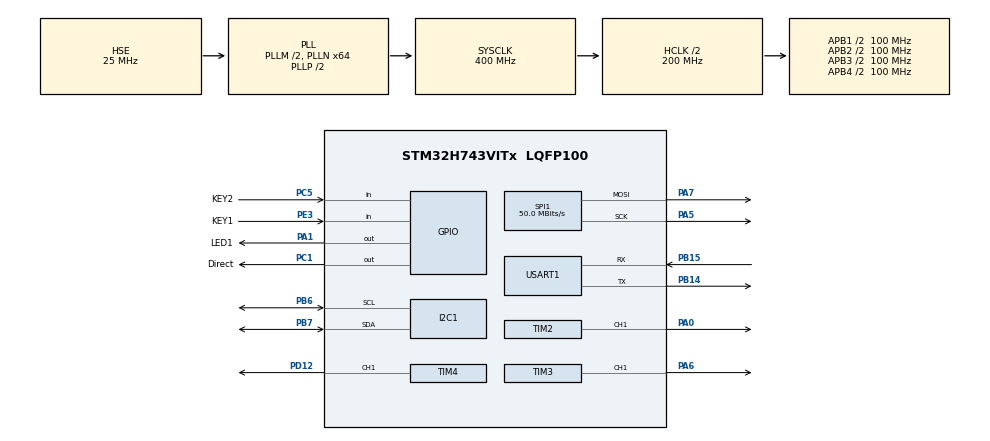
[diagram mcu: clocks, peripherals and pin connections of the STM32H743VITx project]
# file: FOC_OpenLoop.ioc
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Dma.Request0=USART1_RX
Dma.Request1=SPI1_TX
Dma.SPI1_TX.1.Direction=DMA_MEMORY_TO_PERIPH
Dma.SPI1_TX.1.EventEnable=DISABLE
Dma.SPI1_TX.1.FIFOMode=DMA_FIFOMODE_DISABLE
Dma.SPI1_TX.1.Instance=DMA1_Stream1
Dma.SPI1_TX.1.MemDataAlignment=DMA_MDATAALIGN_BYTE
Dma.SPI1_TX.1.MemInc=DMA_MINC_ENABLE
Dma.SPI1_TX.1.Mode=DMA_NORMAL
Dma.SPI1_TX.1.PeriphDataAlignment=DMA_PDATAALIGN_BYTE
Dma.SPI1_TX.1.PeriphInc=DMA_PINC_DISABLE
Dma.SPI1_TX.1.Polarity=HAL_DMAMUX_REQ_GEN_RISING
Dma.SPI1_TX.1.Priority=DMA_PRIORITY_LOW
Dma.SPI1_TX.1.RequestNumber=1
Dma.SPI1_TX.1.SignalID=NONE
Dma.SPI1_TX.1.SyncEnable=DISABLE
Dma.SPI1_TX.1.SyncPolarity=HAL_DMAMUX_SYNC_NO_EVENT
Dma.SPI1_TX.1.SyncRequestNumber=1
Dma.SPI1_TX.1.SyncSignalID=NONE
Dma.USART1_RX.0.Direction=DMA_PERIPH_TO_MEMORY
Dma.USART1_RX.0.EventEnable=DISABLE
Dma.USART1_RX.0.FIFOMode=DMA_FIFOMODE_DISABLE
Dma.USART1_RX.0.Instance=DMA1_Stream0
Dma.USART1_RX.0.MemDataAlignment=DMA_MDATAALIGN_BYTE
Dma.USART1_RX.0.MemInc=DMA_MINC_ENABLE
Dma.USART1_RX.0.Mode=DMA_NORMAL
Dma.USART1_RX.0.PeriphDataAlignment=DMA_PDATAALIGN_BYTE
Dma.USART1_RX.0.PeriphInc=DMA_PINC_DISABLE
Dma.USART1_RX.0.Polarity=HAL_DMAMUX_REQ_GEN_RISING
Dma.USART1_RX.0.Priority=DMA_PRIORITY_LOW
Dma.USART1_RX.0.RequestNumber=1
Dma.USART1_RX.0.SignalID=NONE
Dma.USART1_RX.0.SyncEnable=DISABLE
Dma.USART1_RX.0.SyncPolarity=HAL_DMAMUX_SYNC_NO_EVENT
Dma.USART1_RX.0.SyncRequestNumber=1
Dma.USART1_RX.0.SyncSignalID=NONE
FREERTOS.Tasks01=defaultTask,0,128,StartDefaultTask,Default,NULL,Dynamic,NULL,NULL
FREERTOS.configENABLE_FPU=1
I2C1.Timing=0x10C0ECFF
Mcu.Family=STM32H7
Mcu.Name=STM32H743VITx
Mcu.Package=LQFP100
NVIC.DMA1_Stream0_IRQn=true\:5\:0\:false\:false\:true\:true\:false\:true\:true
NVIC.DMA1_Stream1_IRQn=true\:5\:0\:false\:false\:true\:true\:false\:true\:true
NVIC.PriorityGroup=NVIC_PRIORITYGROUP_4
NVIC.SPI1_IRQn=true\:5\:0\:false\:false\:true\:true\:false\:true\:true
NVIC.TIM4_IRQn=true\:5\:0\:false\:false\:true\:true\:true\:true\:true
PA0.Signal=S_TIM2_CH1_ETR
PA1.GPIO_Label=LED1
PA1.Signal=GPIO_Output
PA13\ (JTMS/SWDIO).Mode=Serial_Wire
PA13\ (JTMS/SWDIO).Signal=DEBUG_JTMS-SWDIO
PA14\ (JTCK/SWCLK).Mode=Serial_Wire
PA14\ (JTCK/SWCLK).Signal=DEBUG_JTCK-SWCLK
PA5.Mode=TX_Only_Simplex_Unidirect_Master
PA5.Signal=SPI1_SCK
PA6.Signal=S_TIM3_CH1
PA7.Mode=TX_Only_Simplex_Unidirect_Master
PA7.Signal=SPI1_MOSI
PB14.Mode=Asynchronous
PB14.Signal=USART1_TX
PB15.Mode=Asynchronous
PB15.Signal=USART1_RX
PB6.Mode=I2C
PB6.Signal=I2C1_SCL
PB7.Mode=I2C
PB7.Signal=I2C1_SDA
PC1.GPIO_Label=Direct
PC1.Signal=GPIO_Output
PC5.GPIO_Label=KEY2
PC5.GPIO_PuPd=GPIO_PULLUP
PC5.Signal=GPIO_Input
PD12.Signal=S_TIM4_CH1
PE3.GPIO_Label=KEY1
PE3.GPIO_PuPd=GPIO_PULLUP
PE3.Signal=GPIO_Input
PH0-OSC_IN\ (PH0).Mode=HSE-External-Oscillator
PH0-OSC_IN\ (PH0).Signal=RCC_OSC_IN
PH1-OSC_OUT\ (PH1).Mode=HSE-External-Oscillator
PH1-OSC_OUT\ (PH1).Signal=RCC_OSC_OUT
ProjectManager.HeapSize=0x200
ProjectManager.StackSize=0x400
ProjectManager.TargetToolchain=STM32CubeIDE
RCC.ADCFreq_Value=50390625
RCC.APB1Freq_Value=100000000
RCC.APB2Freq_Value=100000000
RCC.APB3Freq_Value=100000000
RCC.APB4Freq_Value=100000000
RCC.CortexFreq_Value=400000000
RCC.D1PPRE=RCC_APB3_DIV2
RCC.D2PPRE1=RCC_APB1_DIV2
RCC.D2PPRE2=RCC_APB2_DIV2
RCC.D3PPRE=RCC_APB4_DIV2
RCC.DIVM1=2
RCC.DIVN1=64
RCC.DIVQ1=8
RCC.HCLKFreq_Value=200000000
RCC.HPRE=RCC_HCLK_DIV2
RCC.PLLSourceVirtual=RCC_PLLSOURCE_HSE
RCC.ProductRev=revV
RCC.SYSCLKFreq_VALUE=400000000
RCC.SYSCLKSource=RCC_SYSCLKSOURCE_PLLCLK
RCC.USBFreq_Value=100000000
SH.S_TIM2_CH1_ETR.0=TIM2_CH1,PWM Generation1 CH1
SH.S_TIM3_CH1.0=TIM3_CH1,PWM Generation1 CH1
SH.S_TIM4_CH1.0=TIM4_CH1,PWM Generation1 CH1
SPI1.BaudRatePrescaler=SPI_BAUDRATEPRESCALER_2
SPI1.CLKPhase=SPI_PHASE_1EDGE
SPI1.CLKPolarity=SPI_POLARITY_LOW
SPI1.CalculateBaudRate=50.0 MBits/s
SPI1.DataSize=SPI_DATASIZE_8BIT
SPI1.Direction=SPI_DIRECTION_2LINES_TXONLY
SPI1.Mode=SPI_MODE_MASTER
SPI1.VirtualType=VM_MASTER
TIM2.Channel-PWM\ Generation1\ CH1=TIM_CHANNEL_1
TIM2.Period=1000
TIM2.Prescaler=3
TIM3.Channel-PWM\ Generation1\ CH1=TIM_CHANNEL_1
TIM3.Period=1000
TIM3.Prescaler=3
TIM4.Channel-PWM\ Generation1\ CH1=TIM_CHANNEL_1
TIM4.Period=1000
TIM4.Prescaler=3
USART1.VirtualMode-Asynchronous=VM_ASYNC
VP_FREERTOS_VS_CMSIS_V1.Mode=CMSIS_V1
board=custom

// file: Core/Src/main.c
/* USER CODE BEGIN Header */
/**
  ******************************************************************************
  * @file           : main.c
  * @brief          : Main program body
  ******************************************************************************
  * @attention
  *
  * Copyright (c) 2023 STMicroelectronics.
  * All rights reserved.
  *
  * This software is licensed under terms that can be found in the LICENSE file
  * in the root directory of this software component.
  * If no LICENSE file comes with this software, it is provided AS-IS.
  *
  ******************************************************************************
  */
/* USER CODE END Header */
#include "main.h"
#include "cmsis_os.h"

I2C_HandleTypeDef hi2c1;

SPI_HandleTypeDef hspi1;
DMA_HandleTypeDef hdma_spi1_tx;

TIM_HandleTypeDef htim2;
TIM_HandleTypeDef htim3;
TIM_HandleTypeDef htim4;

UART_HandleTypeDef huart1;
DMA_HandleTypeDef hdma_usart1_rx;

osThreadId defaultTaskHandle;

void SystemClock_Config(void);
static void MX_GPIO_Init(void);
static void MX_DMA_Init(void);
static void MX_USART1_UART_Init(void);
static void MX_SPI1_Init(void);
static void MX_TIM4_Init(void);
static void MX_TIM2_Init(void);
static void MX_TIM3_Init(void);
static void MX_I2C1_Init(void);
void StartDefaultTask(void const * argument);

/* USER CODE BEGIN PFP */

void MotorTask(void const * argument);
osThreadId MotorControlTaskHandle;
osThreadDef(MotorTask, MotorTask, osPriorityHigh, 0, 512);

/* USER CODE END PFP */

int main(void)
{

  /* MCU Configuration--------------------------------------------------------*/

  /* Reset of all peripherals, Initializes the Flash interface and the Systick. */
  HAL_Init();

  /* Configure the system clock */
  SystemClock_Config();

  /* Initialize all configured peripherals */
  MX_GPIO_Init();
  MX_DMA_Init();
  MX_USART1_UART_Init();
  MX_SPI1_Init();
  MX_TIM4_Init();
  MX_TIM2_Init();
  MX_TIM3_Init();
  MX_I2C1_Init();

  /* Create the thread(s) */
  /* definition and creation of defaultTask */
  osThreadDef(defaultTask, StartDefaultTask, osPriorityNormal, 0, 128);
  defaultTaskHandle = osThreadCreate(osThread(defaultTask), NULL);

  /* Start scheduler */
  osKernelStart();
  /* We should never get here as control is now taken by the scheduler */
  /* Infinite loop */
  while (1)
  {

  }
}

void SystemClock_Config(void)
{
  RCC_OscInitTypeDef RCC_OscInitStruct = {0};
  RCC_ClkInitTypeDef RCC_ClkInitStruct = {0};

  /** Supply configuration update enable
  */
  HAL_PWREx_ConfigSupply(PWR_LDO_SUPPLY);

  /** Configure the main internal regulator output voltage
  */
  __HAL_PWR_VOLTAGESCALING_CONFIG(PWR_REGULATOR_VOLTAGE_SCALE1);

  while(!__HAL_PWR_GET_FLAG(PWR_FLAG_VOSRDY)) {}

  /** Initializes the RCC Oscillators according to the specified parameters
  * in the RCC_OscInitTypeDef structure.
  */
  RCC_OscInitStruct.OscillatorType = RCC_OSCILLATORTYPE_HSE;
  RCC_OscInitStruct.HSEState = RCC_HSE_ON;
  RCC_OscInitStruct.PLL.PLLState = RCC_PLL_ON;
  RCC_OscInitStruct.PLL.PLLSource = RCC_PLLSOURCE_HSE;
  RCC_OscInitStruct.PLL.PLLM = 2;
  RCC_OscInitStruct.PLL.PLLN = 64;
  RCC_OscInitStruct.PLL.PLLP = 2;
  RCC_OscInitStruct.PLL.PLLQ = 8;
  RCC_OscInitStruct.PLL.PLLR = 2;
  RCC_OscInitStruct.PLL.PLLRGE = RCC_PLL1VCIRANGE_3;
  RCC_OscInitStruct.PLL.PLLVCOSEL = RCC_PLL1VCOWIDE;
  RCC_OscInitStruct.PLL.PLLFRACN = 0;
  if (HAL_RCC_OscConfig(&RCC_OscInitStruct) != HAL_OK)
  {
    Error_Handler();
  }

  /** Initializes the CPU, AHB and APB buses clocks
  */
  RCC_ClkInitStruct.ClockType = RCC_CLOCKTYPE_HCLK|RCC_CLOCKTYPE_SYSCLK
                              |RCC_CLOCKTYPE_PCLK1|RCC_CLOCKTYPE_PCLK2
                              |RCC_CLOCKTYPE_D3PCLK1|RCC_CLOCKTYPE_D1PCLK1;
  RCC_ClkInitStruct.SYSCLKSource = RCC_SYSCLKSOURCE_PLLCLK;
  RCC_ClkInitStruct.SYSCLKDivider = RCC_SYSCLK_DIV1;
  RCC_ClkInitStruct.AHBCLKDivider = RCC_HCLK_DIV2;
  RCC_ClkInitStruct.APB3CLKDivider = RCC_APB3_DIV2;
  RCC_ClkInitStruct.APB1CLKDivider = RCC_APB1_DIV2;
  RCC_ClkInitStruct.APB2CLKDivider = RCC_APB2_DIV2;
  RCC_ClkInitStruct.APB4CLKDivider = RCC_APB4_DIV2;

  if (HAL_RCC_ClockConfig(&RCC_ClkInitStruct, FLASH_LATENCY_2) != HAL_OK)
  {
    Error_Handler();
  }
}

static void MX_I2C1_Init(void)
{

  hi2c1.Instance = I2C1;
  hi2c1.Init.Timing = 0x10C0ECFF;
  hi2c1.Init.OwnAddress1 = 0;
  hi2c1.Init.AddressingMode = I2C_ADDRESSINGMODE_7BIT;
  hi2c1.Init.DualAddressMode = I2C_DUALADDRESS_DISABLE;
  hi2c1.Init.OwnAddress2 = 0;
  hi2c1.Init.OwnAddress2Masks = I2C_OA2_NOMASK;
  hi2c1.Init.GeneralCallMode = I2C_GENERALCALL_DISABLE;
  hi2c1.Init.NoStretchMode = I2C_NOSTRETCH_DISABLE;
  if (HAL_I2C_Init(&hi2c1) != HAL_OK)
  {
    Error_Handler();
  }

  /** Configure Analogue filter
  */
  if (HAL_I2CEx_ConfigAnalogFilter(&hi2c1, I2C_ANALOGFILTER_ENABLE) != HAL_OK)
  {
    Error_Handler();
  }

  /** Configure Digital filter
  */
  if (HAL_I2CEx_ConfigDigitalFilter(&hi2c1, 0) != HAL_OK)
  {
    Error_Handler();
  }

}

static void MX_SPI1_Init(void)
{

  /* SPI1 parameter configuration*/
  hspi1.Instance = SPI1;
  hspi1.Init.Mode = SPI_MODE_MASTER;
  hspi1.Init.Direction = SPI_DIRECTION_2LINES_TXONLY;
  hspi1.Init.DataSize = SPI_DATASIZE_8BIT;
  hspi1.Init.CLKPolarity = SPI_POLARITY_LOW;
  hspi1.Init.CLKPhase = SPI_PHASE_1EDGE;
  hspi1.Init.NSS = SPI_NSS_SOFT;
  hspi1.Init.BaudRatePrescaler = SPI_BAUDRATEPRESCALER_2;
  hspi1.Init.FirstBit = SPI_FIRSTBIT_MSB;
  hspi1.Init.TIMode = SPI_TIMODE_DISABLE;
  hspi1.Init.CRCCalculation = SPI_CRCCALCULATION_DISABLE;
  hspi1.Init.CRCPolynomial = 0x0;
  hspi1.Init.NSSPMode = SPI_NSS_PULSE_ENABLE;
  hspi1.Init.NSSPolarity = SPI_NSS_POLARITY_LOW;
  hspi1.Init.FifoThreshold = SPI_FIFO_THRESHOLD_01DATA;
  hspi1.Init.TxCRCInitializationPattern = SPI_CRC_INITIALIZATION_ALL_ZERO_PATTERN;
  hspi1.Init.RxCRCInitializationPattern = SPI_CRC_INITIALIZATION_ALL_ZERO_PATTERN;
  hspi1.Init.MasterSSIdleness = SPI_MASTER_SS_IDLENESS_00CYCLE;
  hspi1.Init.MasterInterDataIdleness = SPI_MASTER_INTERDATA_IDLENESS_00CYCLE;
  hspi1.Init.MasterReceiverAutoSusp = SPI_MASTER_RX_AUTOSUSP_DISABLE;
  hspi1.Init.MasterKeepIOState = SPI_MASTER_KEEP_IO_STATE_DISABLE;
  hspi1.Init.IOSwap = SPI_IO_SWAP_DISABLE;
  if (HAL_SPI_Init(&hspi1) != HAL_OK)
  {
    Error_Handler();
  }

}

static void MX_TIM2_Init(void)
{

  TIM_MasterConfigTypeDef sMasterConfig = {0};
  TIM_OC_InitTypeDef sConfigOC = {0};

  htim2.Instance = TIM2;
  htim2.Init.Prescaler = 3;
  htim2.Init.CounterMode = TIM_COUNTERMODE_UP;
  htim2.Init.Period = 1000;
  htim2.Init.ClockDivision = TIM_CLOCKDIVISION_DIV1;
  htim2.Init.AutoReloadPreload = TIM_AUTORELOAD_PRELOAD_DISABLE;
  if (HAL_TIM_PWM_Init(&htim2) != HAL_OK)
  {
    Error_Handler();
  }
  sMasterConfig.MasterOutputTrigger = TIM_TRGO_RESET;
  sMasterConfig.MasterSlaveMode = TIM_MASTERSLAVEMODE_DISABLE;
  if (HAL_TIMEx_MasterConfigSynchronization(&htim2, &sMasterConfig) != HAL_OK)
  {
    Error_Handler();
  }
  sConfigOC.OCMode = TIM_OCMODE_PWM1;
  sConfigOC.Pulse = 0;
  sConfigOC.OCPolarity = TIM_OCPOLARITY_HIGH;
  sConfigOC.OCFastMode = TIM_OCFAST_DISABLE;
  if (HAL_TIM_PWM_ConfigChannel(&htim2, &sConfigOC, TIM_CHANNEL_1) != HAL_OK)
  {
    Error_Handler();
  }
  HAL_TIM_MspPostInit(&htim2);

}

static void MX_TIM3_Init(void)
{

  TIM_MasterConfigTypeDef sMasterConfig = {0};
  TIM_OC_InitTypeDef sConfigOC = {0};

  htim3.Instance = TIM3;
  htim3.Init.Prescaler = 3;
  htim3.Init.CounterMode = TIM_COUNTERMODE_UP;
  htim3.Init.Period = 1000;
  htim3.Init.ClockDivision = TIM_CLOCKDIVISION_DIV1;
  htim3.Init.AutoReloadPreload = TIM_AUTORELOAD_PRELOAD_DISABLE;
  if (HAL_TIM_PWM_Init(&htim3) != HAL_OK)
  {
    Error_Handler();
  }
  sMasterConfig.MasterOutputTrigger = TIM_TRGO_RESET;
  sMasterConfig.MasterSlaveMode = TIM_MASTERSLAVEMODE_DISABLE;
  if (HAL_TIMEx_MasterConfigSynchronization(&htim3, &sMasterConfig) != HAL_OK)
  {
    Error_Handler();
  }
  sConfigOC.OCMode = TIM_OCMODE_PWM1;
  sConfigOC.Pulse = 0;
  sConfigOC.OCPolarity = TIM_OCPOLARITY_HIGH;
  sConfigOC.OCFastMode = TIM_OCFAST_DISABLE;
  if (HAL_TIM_PWM_ConfigChannel(&htim3, &sConfigOC, TIM_CHANNEL_1) != HAL_OK)
  {
    Error_Handler();
  }
  HAL_TIM_MspPostInit(&htim3);

}

static void MX_TIM4_Init(void)
{

  TIM_MasterConfigTypeDef sMasterConfig = {0};
  TIM_OC_InitTypeDef sConfigOC = {0};

  htim4.Instance = TIM4;
  htim4.Init.Prescaler = 3;
  htim4.Init.CounterMode = TIM_COUNTERMODE_UP;
  htim4.Init.Period = 1000;
  htim4.Init.ClockDivision = TIM_CLOCKDIVISION_DIV1;
  htim4.Init.AutoReloadPreload = TIM_AUTORELOAD_PRELOAD_DISABLE;
  if (HAL_TIM_PWM_Init(&htim4) != HAL_OK)
  {
    Error_Handler();
  }
  sMasterConfig.MasterOutputTrigger = TIM_TRGO_RESET;
  sMasterConfig.MasterSlaveMode = TIM_MASTERSLAVEMODE_DISABLE;
  if (HAL_TIMEx_MasterConfigSynchronization(&htim4, &sMasterConfig) != HAL_OK)
  {
    Error_Handler();
  }
  sConfigOC.OCMode = TIM_OCMODE_PWM1;
  sConfigOC.Pulse = 0;
  sConfigOC.OCPolarity = TIM_OCPOLARITY_HIGH;
  sConfigOC.OCFastMode = TIM_OCFAST_DISABLE;
  if (HAL_TIM_PWM_ConfigChannel(&htim4, &sConfigOC, TIM_CHANNEL_1) != HAL_OK)
  {
    Error_Handler();
  }
  HAL_TIM_MspPostInit(&htim4);

}

static void MX_USART1_UART_Init(void)
{

  huart1.Instance = USART1;
  huart1.Init.BaudRate = 115200;
  huart1.Init.WordLength = UART_WORDLENGTH_8B;
  huart1.Init.StopBits = UART_STOPBITS_1;
  huart1.Init.Parity = UART_PARITY_NONE;
  huart1.Init.Mode = UART_MODE_TX_RX;
  huart1.Init.HwFlowCtl = UART_HWCONTROL_NONE;
  huart1.Init.OverSampling = UART_OVERSAMPLING_16;
  huart1.Init.OneBitSampling = UART_ONE_BIT_SAMPLE_DISABLE;
  huart1.Init.ClockPrescaler = UART_PRESCALER_DIV1;
  huart1.AdvancedInit.AdvFeatureInit = UART_ADVFEATURE_NO_INIT;
  if (HAL_UART_Init(&huart1) != HAL_OK)
  {
    Error_Handler();
  }
  if (HAL_UARTEx_SetTxFifoThreshold(&huart1, UART_TXFIFO_THRESHOLD_1_8) != HAL_OK)
  {
    Error_Handler();
  }
  if (HAL_UARTEx_SetRxFifoThreshold(&huart1, UART_RXFIFO_THRESHOLD_1_8) != HAL_OK)
  {
    Error_Handler();
  }
  if (HAL_UARTEx_DisableFifoMode(&huart1) != HAL_OK)
  {
    Error_Handler();
  }

}

static void MX_DMA_Init(void)
{

  /* DMA controller clock enable */
  __HAL_RCC_DMA1_CLK_ENABLE();

  /* DMA interrupt init */
  /* DMA1_Stream0_IRQn interrupt configuration */
  HAL_NVIC_SetPriority(DMA1_Stream0_IRQn, 5, 0);
  HAL_NVIC_EnableIRQ(DMA1_Stream0_IRQn);
  /* DMA1_Stream1_IRQn interrupt configuration */
  HAL_NVIC_SetPriority(DMA1_Stream1_IRQn, 5, 0);
  HAL_NVIC_EnableIRQ(DMA1_Stream1_IRQn);

}

static void MX_GPIO_Init(void)
{
  GPIO_InitTypeDef GPIO_InitStruct = {0};

  /* GPIO Ports Clock Enable */
  __HAL_RCC_GPIOE_CLK_ENABLE();
  __HAL_RCC_GPIOH_CLK_ENABLE();
  __HAL_RCC_GPIOC_CLK_ENABLE();
  __HAL_RCC_GPIOA_CLK_ENABLE();
  __HAL_RCC_GPIOB_CLK_ENABLE();
  __HAL_RCC_GPIOD_CLK_ENABLE();

  /*Configure GPIO pin Output Level */
  HAL_GPIO_WritePin(Direct_GPIO_Port, Direct_Pin, GPIO_PIN_RESET);

  /*Configure GPIO pin Output Level */
  HAL_GPIO_WritePin(LED1_GPIO_Port, LED1_Pin, GPIO_PIN_RESET);

  /*Configure GPIO pin : KEY1_Pin */
  GPIO_InitStruct.Pin = KEY1_Pin;
  GPIO_InitStruct.Mode = GPIO_MODE_INPUT;
  GPIO_InitStruct.Pull = GPIO_PULLUP;
  HAL_GPIO_Init(KEY1_GPIO_Port, &GPIO_InitStruct);

  /*Configure GPIO pin : Direct_Pin */
  GPIO_InitStruct.Pin = Direct_Pin;
  GPIO_InitStruct.Mode = GPIO_MODE_OUTPUT_PP;
  GPIO_InitStruct.Pull = GPIO_NOPULL;
  GPIO_InitStruct.Speed = GPIO_SPEED_FREQ_LOW;
  HAL_GPIO_Init(Direct_GPIO_Port, &GPIO_InitStruct);

  /*Configure GPIO pin : LED1_Pin */
  GPIO_InitStruct.Pin = LED1_Pin;
  GPIO_InitStruct.Mode = GPIO_MODE_OUTPUT_PP;
  GPIO_InitStruct.Pull = GPIO_NOPULL;
  GPIO_InitStruct.Speed = GPIO_SPEED_FREQ_LOW;
  HAL_GPIO_Init(LED1_GPIO_Port, &GPIO_InitStruct);

  /*Configure GPIO pin : KEY2_Pin */
  GPIO_InitStruct.Pin = KEY2_Pin;
  GPIO_InitStruct.Mode = GPIO_MODE_INPUT;
  GPIO_InitStruct.Pull = GPIO_PULLUP;
  HAL_GPIO_Init(KEY2_GPIO_Port, &GPIO_InitStruct);

}

void StartDefaultTask(void const * argument)
{
  /* USER CODE BEGIN 5 */

  MotorControlTaskHandle = osThreadCreate(osThread(MotorTask), NULL);

  /* Infinite loop */
  for(;;)
  {
      HAL_GPIO_TogglePin(LED1_GPIO_Port, LED1_Pin);
    osDelay(300);
  }
  /* USER CODE END 5 */
}

void Error_Handler(void)
{
  __disable_irq();
  while (1)
  {
  }
}

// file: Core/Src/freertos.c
/* USER CODE BEGIN Header */
/**
  ******************************************************************************
  * File Name          : freertos.c
  * Description        : Code for freertos applications
  ******************************************************************************
  * @attention
  *
  * Copyright (c) 2023 STMicroelectronics.
  * All rights reserved.
  *
  * This software is licensed under terms that can be found in the LICENSE file
  * in the root directory of this software component.
  * If no LICENSE file comes with this software, it is provided AS-IS.
  *
  ******************************************************************************
  */
/* USER CODE END Header */

#include "FreeRTOS.h"
#include "task.h"
#include "main.h"

/* USER CODE BEGIN Includes */
#include "cmsis_os.h"
#include "FOC.h"
/* USER CODE END Includes */

/* GetIdleTaskMemory prototype (linked to static allocation support) */
void vApplicationGetIdleTaskMemory( StaticTask_t **ppxIdleTaskTCBBuffer, StackType_t **ppxIdleTaskStackBuffer, uint32_t *pulIdleTaskStackSize );

/* USER CODE BEGIN GET_IDLE_TASK_MEMORY */
static StaticTask_t xIdleTaskTCBBuffer;
static StackType_t xIdleStack[configMINIMAL_STACK_SIZE];

void vApplicationGetIdleTaskMemory( StaticTask_t **ppxIdleTaskTCBBuffer, StackType_t **ppxIdleTaskStackBuffer, uint32_t *pulIdleTaskStackSize )
{
  *ppxIdleTaskTCBBuffer = &xIdleTaskTCBBuffer;
  *ppxIdleTaskStackBuffer = &xIdleStack[0];
  *pulIdleTaskStackSize = configMINIMAL_STACK_SIZE;
  /* place for user code */
}
/* USER CODE END GET_IDLE_TASK_MEMORY */

/* USER CODE BEGIN Application */
void MotorTask(void const * argument){
    int16_t FOC_angle;
    float FOC_angle_f;

    int Motor_PP = 7; //电机极对数
    int sensorDir = 1; //传感器判定方向

    FOC_Vbus(12.0f);
//    FOC_alignSensor(Motor_PP, sensorDir);

    for(;;)
    {
//        i2c_mt6701_get_angle(&FOC_angle, &FOC_angle_f);
        uart_printf("Angle: %d", FOC_angle);
        velocityOpenLoop(15);
        osDelay(1);
    }
}
/* USER CODE END Application */
